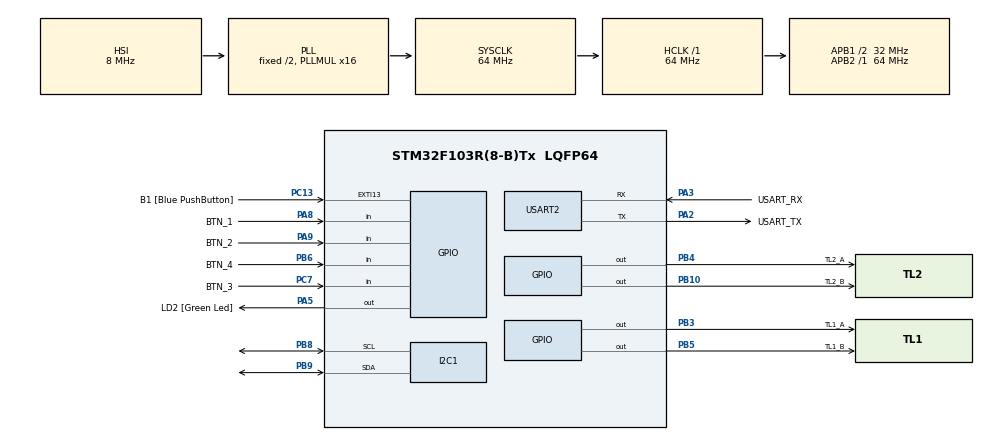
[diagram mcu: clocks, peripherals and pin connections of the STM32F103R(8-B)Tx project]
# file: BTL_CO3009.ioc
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Mcu.Family=STM32F1
Mcu.Name=STM32F103R(8-B)Tx
Mcu.Package=LQFP64
NVIC.EXTI15_10_IRQn=true\:0\:0\:false\:false\:true\:true\:true
NVIC.PriorityGroup=NVIC_PRIORITYGROUP_4
NVIC.TIM2_IRQn=true\:0\:0\:false\:false\:true\:true\:true
PA13.GPIO_Label=TMS
PA13.Mode=Serial_Wire
PA13.Signal=SYS_JTMS-SWDIO
PA14.GPIO_Label=TCK
PA14.Mode=Serial_Wire
PA14.Signal=SYS_JTCK-SWCLK
PA2.GPIO_Label=USART_TX
PA2.GPIO_Mode=GPIO_MODE_AF_PP
PA2.GPIO_PuPd=GPIO_NOPULL
PA2.GPIO_Speed=GPIO_SPEED_FREQ_LOW
PA2.Mode=Asynchronous
PA2.Signal=USART2_TX
PA3.GPIO_Label=USART_RX
PA3.GPIO_Mode=GPIO_MODE_AF_PP
PA3.GPIO_PuPd=GPIO_NOPULL
PA3.GPIO_Speed=GPIO_SPEED_FREQ_LOW
PA3.Mode=Asynchronous
PA3.Signal=USART2_RX
PA5.GPIO_Label=LD2 [Green Led]
PA5.GPIO_ModeDefaultOutputPP=GPIO_MODE_OUTPUT_PP
PA5.GPIO_PuPd=GPIO_NOPULL
PA5.GPIO_Speed=GPIO_SPEED_FREQ_LOW
PA5.Signal=GPIO_Output
PA8.GPIO_Label=BTN_1
PA8.GPIO_Mode=GPIO_MODE_INPUT
PA8.GPIO_PuPd=GPIO_PULLUP
PA8.Signal=GPIO_Input
PA9.GPIO_Label=BTN_2
PA9.GPIO_Mode=GPIO_MODE_INPUT
PA9.GPIO_PuPd=GPIO_PULLUP
PA9.Signal=GPIO_Input
PB10.GPIO_Label=TL2_B
PB10.Signal=GPIO_Output
PB3.GPIO_Label=TL1_A
PB3.Signal=GPIO_Output
PB4.GPIO_Label=TL2_A
PB4.Signal=GPIO_Output
PB5.GPIO_Label=TL1_B
PB5.Signal=GPIO_Output
PB6.GPIO_Label=BTN_4
PB6.GPIO_Mode=GPIO_MODE_INPUT
PB6.GPIO_PuPd=GPIO_PULLUP
PB6.Signal=GPIO_Input
PB8.Mode=I2C
PB8.Signal=I2C1_SCL
PB9.Mode=I2C
PB9.Signal=I2C1_SDA
PC13-TAMPER-RTC.GPIO_Label=B1 [Blue PushButton]
PC13-TAMPER-RTC.GPIO_PuPd=GPIO_NOPULL
PC13-TAMPER-RTC.Signal=GPXTI13
PC14-OSC32_IN.Mode=LSE-External-Oscillator
PC14-OSC32_IN.Signal=RCC_OSC32_IN
PC15-OSC32_OUT.Mode=LSE-External-Oscillator
PC15-OSC32_OUT.Signal=RCC_OSC32_OUT
PC7.GPIO_Label=BTN_3
PC7.GPIO_Mode=GPIO_MODE_INPUT
PC7.GPIO_PuPd=GPIO_PULLUP
PC7.Signal=GPIO_Input
PD0-OSC_IN.Mode=HSE-External-Clock-Source
PD0-OSC_IN.Signal=RCC_OSC_IN
PD1-OSC_OUT.Mode=HSE-External-Clock-Source
PD1-OSC_OUT.Signal=RCC_OSC_OUT
ProjectManager.HeapSize=0x200
ProjectManager.StackSize=0x400
ProjectManager.TargetToolchain=STM32CubeIDE
RCC.AHBFreq_Value=64000000
RCC.APB1CLKDivider=RCC_HCLK_DIV2
RCC.APB1Freq_Value=32000000
RCC.APB1TimFreq_Value=64000000
RCC.APB2Freq_Value=64000000
RCC.APB2TimFreq_Value=64000000
RCC.HCLKFreq_Value=64000000
RCC.PLLMUL=RCC_PLL_MUL16
RCC.RTCClockSelection=RCC_RTCCLKSOURCE_LSE
RCC.SYSCLKFreq_VALUE=64000000
RCC.SYSCLKSource=RCC_SYSCLKSOURCE_PLLCLK
RCC.USBFreq_Value=64000000
TIM2.AutoReloadPreload=TIM_AUTORELOAD_PRELOAD_ENABLE
TIM2.Period=99
TIM2.Prescaler=6399
USART2.VirtualMode=VM_ASYNC
VP_TIM2_VS_ClockSourceINT.Mode=Internal
board=NUCLEO-F103RB

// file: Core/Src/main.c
/* USER CODE BEGIN Header */
/**
  ******************************************************************************
  * @file           : main.c
  * @brief          : Main program body
  ******************************************************************************
  * @attention
  *
  * <h2><center>&copy; Copyright (c) 2026 STMicroelectronics.
  * All rights reserved.</center></h2>
  *
  * This software component is licensed by ST under BSD 3-Clause license,
  * the "License"; You may not use this file except in compliance with the
  * License. You may obtain a copy of the License at:
  *                        opensource.org/licenses/BSD-3-Clause
  *
  ******************************************************************************
  */
/* USER CODE END Header */
#include "main.h"

/* USER CODE BEGIN Includes */
/* USER CODE BEGIN Includes */
/* USER CODE BEGIN Includes */
/* USER CODE BEGIN Includes */
/* USER CODE BEGIN Includes */
#include "global.h"
#include "scheduler.h"
#include "button.h"
#include "traffic_light.h"
#include "fsm_automatic.h"
#include "fsm_manual.h"
#include "fsm_tuning.h"
#include "lcd.h"
#include "dht20.h"
/* USER CODE END Includes */
/* USER CODE END Includes */
/* USER CODE END Includes */
/* USER CODE END Includes */
/* USER CODE END Includes */

I2C_HandleTypeDef hi2c1;

TIM_HandleTypeDef htim2;

UART_HandleTypeDef huart2;

void SystemClock_Config(void);
static void MX_GPIO_Init(void);
static void MX_USART2_UART_Init(void);
static void MX_I2C1_Init(void);
static void MX_TIM2_Init(void);

/* USER CODE BEGIN 0 */
/* USER CODE BEGIN 0 */
void System_FSM_Run(void) {
    // Xử lý chuyển chế độ bằng BTN_1
    if (Is_Button_Pressed(BTN_INDEX_1)) {
        switch (current_mode) {
            case MODE_AUTOMATIC:
                current_mode = MODE_MANUAL;
                FSM_Manual_Init();
                break;
            case MODE_MANUAL:
                current_mode = MODE_TUNING;
                FSM_Tuning_Init();
                break;
            case MODE_TUNING:
                current_mode = MODE_AUTOMATIC;
                FSM_Automatic_Init();
                break;
        }
    }

    // Thực thi FSM tương ứng với chế độ hiện tại
    switch (current_mode) {
        case MODE_AUTOMATIC:
            FSM_Automatic_Run();
            break;
        case MODE_MANUAL:
            FSM_Manual_Run();
            break;
        case MODE_TUNING:
            FSM_Tuning_Run();
            break;
    }
}
/* USER CODE END 0 */
/* USER CODE END 0 */

int main(void)
{

  /* MCU Configuration--------------------------------------------------------*/

  /* Reset of all peripherals, Initializes the Flash interface and the Systick. */
  HAL_Init();

  /* Configure the system clock */
  SystemClock_Config();

  /* Initialize all configured peripherals */
  MX_GPIO_Init();
  MX_USART2_UART_Init();
  MX_I2C1_Init();
  MX_TIM2_Init();
  /* USER CODE BEGIN 2 */
  Global_Init();
  Button_Init();
  TrafficLight_Init();
  lcd_init();
  dht20_init();
  dht20_read(value_x10); // Đọc giá trị cảm biến lần đầu khi khởi động

  FSM_Automatic_Init();
  SCH_Init();

  // 1. Quét nút nhấn mỗi 10ms (1 tick)
  SCH_Add_Task(Button_Reading, 0, 1);

  // 2. Chạy máy trạng thái đèn giao thông mỗi 10ms (1 tick)
  SCH_Add_Task(System_FSM_Run, 0, 1);

  // 3. Tiến trình đọc cảm biến DHT20 mỗi 100ms (10 ticks)
  SCH_Add_Task(DHT20_Task_Run, 10, 10);

  // 4. Cập nhật màn hình LCD mỗi 250ms (25 ticks)
  SCH_Add_Task(LCD_Task_Run, 5, 25);

  HAL_TIM_Base_Start_IT(&htim2);
  /* USER CODE END 2 */

  /* Infinite loop */
  /* USER CODE BEGIN WHILE */
  while (1)
  {
	  SCH_Dispatch_Tasks();
    /* USER CODE END WHILE */

  }
}

void SystemClock_Config(void)
{
  RCC_OscInitTypeDef RCC_OscInitStruct = {0};
  RCC_ClkInitTypeDef RCC_ClkInitStruct = {0};

  /** Initializes the RCC Oscillators according to the specified parameters
  * in the RCC_OscInitTypeDef structure.
  */
  RCC_OscInitStruct.OscillatorType = RCC_OSCILLATORTYPE_HSI;
  RCC_OscInitStruct.HSIState = RCC_HSI_ON;
  RCC_OscInitStruct.HSICalibrationValue = RCC_HSICALIBRATION_DEFAULT;
  RCC_OscInitStruct.PLL.PLLState = RCC_PLL_ON;
  RCC_OscInitStruct.PLL.PLLSource = RCC_PLLSOURCE_HSI_DIV2;
  RCC_OscInitStruct.PLL.PLLMUL = RCC_PLL_MUL16;
  if (HAL_RCC_OscConfig(&RCC_OscInitStruct) != HAL_OK)
  {
    Error_Handler();
  }
  /** Initializes the CPU, AHB and APB buses clocks
  */
  RCC_ClkInitStruct.ClockType = RCC_CLOCKTYPE_HCLK|RCC_CLOCKTYPE_SYSCLK
                              |RCC_CLOCKTYPE_PCLK1|RCC_CLOCKTYPE_PCLK2;
  RCC_ClkInitStruct.SYSCLKSource = RCC_SYSCLKSOURCE_PLLCLK;
  RCC_ClkInitStruct.AHBCLKDivider = RCC_SYSCLK_DIV1;
  RCC_ClkInitStruct.APB1CLKDivider = RCC_HCLK_DIV2;
  RCC_ClkInitStruct.APB2CLKDivider = RCC_HCLK_DIV1;

  if (HAL_RCC_ClockConfig(&RCC_ClkInitStruct, FLASH_LATENCY_2) != HAL_OK)
  {
    Error_Handler();
  }
}

static void MX_I2C1_Init(void)
{

  hi2c1.Instance = I2C1;
  hi2c1.Init.ClockSpeed = 100000;
  hi2c1.Init.DutyCycle = I2C_DUTYCYCLE_2;
  hi2c1.Init.OwnAddress1 = 0;
  hi2c1.Init.AddressingMode = I2C_ADDRESSINGMODE_7BIT;
  hi2c1.Init.DualAddressMode = I2C_DUALADDRESS_DISABLE;
  hi2c1.Init.OwnAddress2 = 0;
  hi2c1.Init.GeneralCallMode = I2C_GENERALCALL_DISABLE;
  hi2c1.Init.NoStretchMode = I2C_NOSTRETCH_DISABLE;
  if (HAL_I2C_Init(&hi2c1) != HAL_OK)
  {
    Error_Handler();
  }

}

static void MX_TIM2_Init(void)
{

  TIM_ClockConfigTypeDef sClockSourceConfig = {0};
  TIM_MasterConfigTypeDef sMasterConfig = {0};

  htim2.Instance = TIM2;
  htim2.Init.Prescaler = 6399;
  htim2.Init.CounterMode = TIM_COUNTERMODE_UP;
  htim2.Init.Period = 99;
  htim2.Init.ClockDivision = TIM_CLOCKDIVISION_DIV1;
  htim2.Init.AutoReloadPreload = TIM_AUTORELOAD_PRELOAD_ENABLE;
  if (HAL_TIM_Base_Init(&htim2) != HAL_OK)
  {
    Error_Handler();
  }
  sClockSourceConfig.ClockSource = TIM_CLOCKSOURCE_INTERNAL;
  if (HAL_TIM_ConfigClockSource(&htim2, &sClockSourceConfig) != HAL_OK)
  {
    Error_Handler();
  }
  sMasterConfig.MasterOutputTrigger = TIM_TRGO_RESET;
  sMasterConfig.MasterSlaveMode = TIM_MASTERSLAVEMODE_DISABLE;
  if (HAL_TIMEx_MasterConfigSynchronization(&htim2, &sMasterConfig) != HAL_OK)
  {
    Error_Handler();
  }

}

static void MX_USART2_UART_Init(void)
{

  huart2.Instance = USART2;
  huart2.Init.BaudRate = 115200;
  huart2.Init.WordLength = UART_WORDLENGTH_8B;
  huart2.Init.StopBits = UART_STOPBITS_1;
  huart2.Init.Parity = UART_PARITY_NONE;
  huart2.Init.Mode = UART_MODE_TX_RX;
  huart2.Init.HwFlowCtl = UART_HWCONTROL_NONE;
  huart2.Init.OverSampling = UART_OVERSAMPLING_16;
  if (HAL_UART_Init(&huart2) != HAL_OK)
  {
    Error_Handler();
  }

}

static void MX_GPIO_Init(void)
{
  GPIO_InitTypeDef GPIO_InitStruct = {0};

  /* GPIO Ports Clock Enable */
  __HAL_RCC_GPIOC_CLK_ENABLE();
  __HAL_RCC_GPIOD_CLK_ENABLE();
  __HAL_RCC_GPIOA_CLK_ENABLE();
  __HAL_RCC_GPIOB_CLK_ENABLE();

  /*Configure GPIO pin Output Level */
  HAL_GPIO_WritePin(LD2_GPIO_Port, LD2_Pin, GPIO_PIN_RESET);

  /*Configure GPIO pin Output Level */
  HAL_GPIO_WritePin(GPIOB, TL2_B_Pin|TL1_A_Pin|TL2_A_Pin|TL1_B_Pin, GPIO_PIN_RESET);

  /*Configure GPIO pin : B1_Pin */
  GPIO_InitStruct.Pin = B1_Pin;
  GPIO_InitStruct.Mode = GPIO_MODE_IT_RISING;
  GPIO_InitStruct.Pull = GPIO_NOPULL;
  HAL_GPIO_Init(B1_GPIO_Port, &GPIO_InitStruct);

  /*Configure GPIO pin : LD2_Pin */
  GPIO_InitStruct.Pin = LD2_Pin;
  GPIO_InitStruct.Mode = GPIO_MODE_OUTPUT_PP;
  GPIO_InitStruct.Pull = GPIO_NOPULL;
  GPIO_InitStruct.Speed = GPIO_SPEED_FREQ_LOW;
  HAL_GPIO_Init(LD2_GPIO_Port, &GPIO_InitStruct);

  /*Configure GPIO pins : TL2_B_Pin TL1_A_Pin TL2_A_Pin TL1_B_Pin */
  GPIO_InitStruct.Pin = TL2_B_Pin|TL1_A_Pin|TL2_A_Pin|TL1_B_Pin;
  GPIO_InitStruct.Mode = GPIO_MODE_OUTPUT_PP;
  GPIO_InitStruct.Pull = GPIO_NOPULL;
  GPIO_InitStruct.Speed = GPIO_SPEED_FREQ_LOW;
  HAL_GPIO_Init(GPIOB, &GPIO_InitStruct);

  /*Configure GPIO pin : BTN_3_Pin */
  GPIO_InitStruct.Pin = BTN_3_Pin;
  GPIO_InitStruct.Mode = GPIO_MODE_INPUT;
  GPIO_InitStruct.Pull = GPIO_PULLUP;
  HAL_GPIO_Init(BTN_3_GPIO_Port, &GPIO_InitStruct);

  /*Configure GPIO pins : BTN_1_Pin BTN_2_Pin */
  GPIO_InitStruct.Pin = BTN_1_Pin|BTN_2_Pin;
  GPIO_InitStruct.Mode = GPIO_MODE_INPUT;
  GPIO_InitStruct.Pull = GPIO_PULLUP;
  HAL_GPIO_Init(GPIOA, &GPIO_InitStruct);

  /*Configure GPIO pin : BTN_4_Pin */
  GPIO_InitStruct.Pin = BTN_4_Pin;
  GPIO_InitStruct.Mode = GPIO_MODE_INPUT;
  GPIO_InitStruct.Pull = GPIO_PULLUP;
  HAL_GPIO_Init(BTN_4_GPIO_Port, &GPIO_InitStruct);

  /* EXTI interrupt init*/
  HAL_NVIC_SetPriority(EXTI15_10_IRQn, 0, 0);
  HAL_NVIC_EnableIRQ(EXTI15_10_IRQn);

}

/* USER CODE BEGIN 4 */
/* USER CODE BEGIN 4 */
void HAL_TIM_PeriodElapsedCallback(TIM_HandleTypeDef *htim) {
    if (htim->Instance == TIM2) {
        SCH_Update();
    }
}
/* USER CODE END 4 */
/* USER CODE END 4 */

void Error_Handler(void)
{
  __disable_irq();
  while (1)
  {
  }
}

/************************ (C) COPYRIGHT STMicroelectronics *****END OF FILE****/
